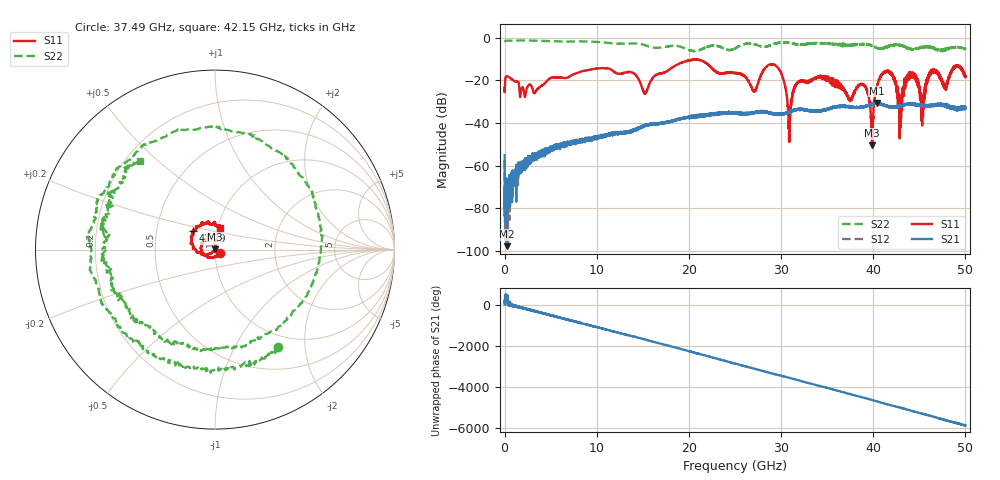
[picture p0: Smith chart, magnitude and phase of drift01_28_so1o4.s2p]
!Created with skrf (http://scikit-rf.org).
# Hz S RI R 50.0
!freq ReS11 ImS11 ReS21 ImS21 ReS12 ImS12 ReS22 ImS22
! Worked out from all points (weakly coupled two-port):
!   10001 points, 300 kHz to 50 GHz, reference 50 ohm
!   highest |S21| = -30.63 dB at 40.4 GHz (marker M1); lowest = -97.8 dB at 240.3 MHz (marker M2)
!   lowest |S11| = -50.5 dB at 39.87 GHz (marker M3), VSWR 1.01, Z = 49.7 + j0.134 ohm
!   |S11| at or under -10 dB: start of sweep to end of sweep
!   |S22| runs from -6.5 to -1.4 dB; largest |S21 - S12| = 0.0036
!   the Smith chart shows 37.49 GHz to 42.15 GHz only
!   S11 on the Smith chart (normalised r, x): 37.49 GHz: 1.05, -0.05; 41.29 GHz: 0.77, +0.16; 42.15 GHz: 1.03, +0.25
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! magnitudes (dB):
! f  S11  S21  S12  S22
! 300 kHz  -23.6  -55.2  -57.4  -2.1
! 240.3 MHz  -18.1  -97.8  -80.3  -1.4
! 2.975 GHz  -23.3  -57.1  -55.8  -1.4
! 8.335 GHz  -15.9  -48.1  -48.2  -1.8
! 16.67 GHz  -17.0  -40.3  -40.3  -4.8
! 25 GHz  -16.6  -35.6  -35.4  -5.1
! 27.1 GHz  -25.2  -35.3  -35.3  -3.1
! 29.42 GHz  -13.2  -35.8  -36.0  -2.8
! 30.91 GHz  -48.4  -35.2  -34.8  -2.5
! 33.34 GHz  -20.0  -34.5  -34.3  -2.7
! 37.49 GHz  -29.4  -32.6  -32.7  -3.8
! 38.95 GHz  -22.1  -32.7  -32.4  -3.1
! 39.87 GHz  -50.5  -31.2  -31.3  -3.8
! 40.4 GHz  -22.6  -30.6  -30.9  -4.8
! 41.29 GHz  -15.9  -31.9  -31.8  -4.6
! 41.67 GHz  -16.2  -32.1  -32.4  -4.1
! 42.15 GHz  -18.3  -32.6  -32.6  -3.8
! 42.91 GHz  -29.8  -32.0  -32.1  -3.5
! 43.96 GHz  -17.6  -31.6  -31.0  -5.2
! 45.31 GHz  -41.2  -32.3  -32.1  -4.4
! 46.45 GHz  -15.1  -31.8  -31.8  -4.6
! 50 GHz  -18.3  -33.0  -32.8  -5.4
